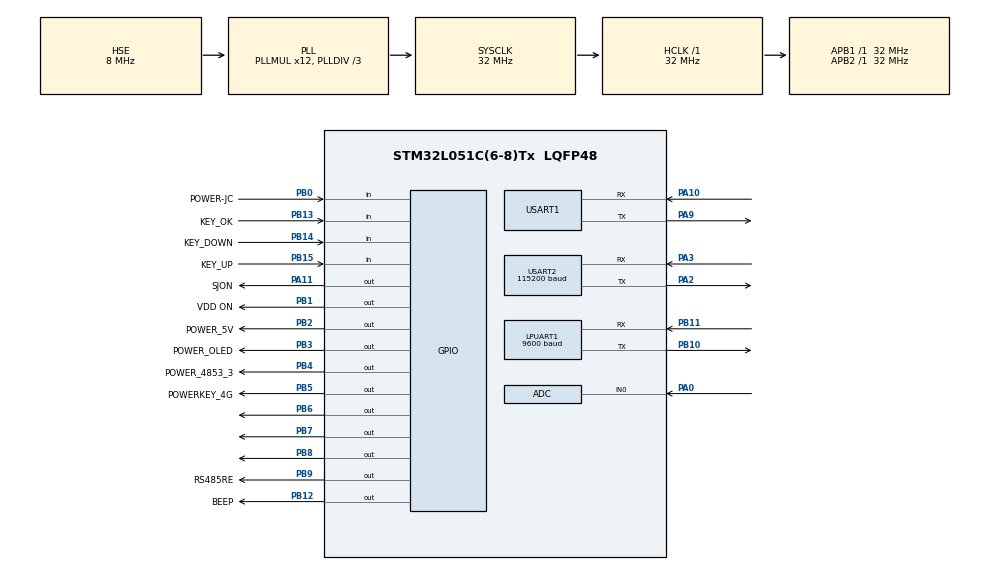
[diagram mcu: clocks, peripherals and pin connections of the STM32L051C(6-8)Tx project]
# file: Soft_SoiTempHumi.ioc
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ADC.ContinuousConvMode=ENABLE
ADC.DMAContinuousRequests=ENABLE
ADC.SamplingTime=ADC_SAMPLETIME_160CYCLES_5
Dma.ADC.0.Direction=DMA_PERIPH_TO_MEMORY
Dma.ADC.0.Instance=DMA1_Channel1
Dma.ADC.0.MemDataAlignment=DMA_MDATAALIGN_HALFWORD
Dma.ADC.0.MemInc=DMA_MINC_ENABLE
Dma.ADC.0.Mode=DMA_CIRCULAR
Dma.ADC.0.PeriphDataAlignment=DMA_PDATAALIGN_HALFWORD
Dma.ADC.0.PeriphInc=DMA_PINC_DISABLE
Dma.ADC.0.Priority=DMA_PRIORITY_LOW
Dma.Request0=ADC
FREERTOS.Tasks01=UIShowTask,-1,128,UI_ShowTask,Default,NULL,Dynamic,NULL,NULL;AdcTask,0,128,Adc_Task,Default,NULL,Dynamic,NULL,NULL;KeyTask,-1,128,Key_Task,Default,NULL,Dynamic,NULL,NULL;NerTask,-3,128,Ner_Task,Default,NULL,Dynamic,NULL,NULL
LPUART1.BaudRate=9600
LPUART1.WordLength=UART_WORDLENGTH_8B
Mcu.Family=STM32L0
Mcu.Name=STM32L051C(6-8)Tx
Mcu.Package=LQFP48
NVIC.ADC1_COMP_IRQn=true\:3\:0\:false\:false\:true\:true\:true\:true\:true
NVIC.DMA1_Channel1_IRQn=true\:3\:0\:false\:false\:true\:true\:false\:true\:true
NVIC.LPUART1_IRQn=true\:3\:0\:false\:false\:true\:true\:true\:true\:true
NVIC.TIM22_IRQn=true\:3\:0\:false\:false\:true\:false\:false\:true\:true
NVIC.TimeBase=TIM22_IRQn
NVIC.TimeBaseIP=TIM22
NVIC.USART1_IRQn=true\:3\:0\:false\:false\:true\:true\:true\:true\:true
NVIC.USART2_IRQn=true\:3\:0\:false\:false\:true\:false\:true\:true\:true
PA0.Mode=IN0
PA0.Signal=ADC_IN0
PA10.Mode=Asynchronous
PA10.Signal=USART1_RX
PA11.GPIO_Label=SJON
PA11.GPIO_PuPd=GPIO_PULLUP
PA11.PinState=GPIO_PIN_RESET
PA11.Signal=GPIO_Output
PA13.Mode=Serial_Wire
PA13.Signal=SYS_SWDIO
PA14.Mode=Serial_Wire
PA14.Signal=SYS_SWCLK
PA2.Mode=Asynchronous
PA2.Signal=USART2_TX
PA3.Mode=Asynchronous
PA3.Signal=USART2_RX
PA9.Mode=Asynchronous
PA9.Signal=USART1_TX
PB0.GPIO_Label=POWER-JC
PB0.GPIO_PuPd=GPIO_PULLUP
PB0.Signal=GPIO_Input
PB1.GPIO_Label=VDD ON
PB1.GPIO_ModeDefaultOutputPP=GPIO_MODE_OUTPUT_PP
PB1.GPIO_PuPd=GPIO_PULLUP
PB1.PinState=GPIO_PIN_SET
PB1.Signal=GPIO_Output
PB10.Mode=Asynchronous
PB10.Signal=LPUART1_TX
PB11.Mode=Asynchronous
PB11.Signal=LPUART1_RX
PB12.GPIO_Label=BEEP
PB12.GPIO_PuPd=GPIO_PULLUP
PB12.Signal=GPIO_Output
PB13.GPIO_Label=KEY_OK
PB13.GPIO_PuPd=GPIO_PULLUP
PB13.Signal=GPIO_Input
PB14.GPIO_Label=KEY_DOWN
PB14.GPIO_PuPd=GPIO_PULLUP
PB14.Signal=GPIO_Input
PB15.GPIO_Label=KEY_UP
PB15.GPIO_PuPd=GPIO_PULLUP
PB15.Signal=GPIO_Input
PB2.GPIO_Label=POWER_5V
PB2.GPIO_ModeDefaultOutputPP=GPIO_MODE_OUTPUT_PP
PB2.GPIO_PuPd=GPIO_PULLUP
PB2.PinState=GPIO_PIN_RESET
PB2.Signal=GPIO_Output
PB3.GPIO_Label=POWER_OLED
PB3.GPIO_ModeDefaultOutputPP=GPIO_MODE_OUTPUT_PP
PB3.GPIO_PuPd=GPIO_PULLUP
PB3.PinState=GPIO_PIN_SET
PB3.Signal=GPIO_Output
PB4.GPIO_Label=POWER_4853_3
PB4.GPIO_ModeDefaultOutputPP=GPIO_MODE_OUTPUT_PP
PB4.GPIO_PuPd=GPIO_PULLUP
PB4.Signal=GPIO_Output
PB5.GPIO_Label=POWERKEY_4G
PB5.GPIO_ModeDefaultOutputPP=GPIO_MODE_OUTPUT_PP
PB5.GPIO_PuPd=GPIO_PULLUP
PB5.PinState=GPIO_PIN_RESET
PB5.Signal=GPIO_Output
PB6.GPIO_ModeDefaultOutputPP=GPIO_MODE_OUTPUT_PP
PB6.GPIO_PuPd=GPIO_PULLUP
PB6.PinState=GPIO_PIN_SET
PB6.Signal=GPIO_Output
PB7.GPIO_ModeDefaultOutputPP=GPIO_MODE_OUTPUT_PP
PB7.GPIO_PuPd=GPIO_PULLUP
PB7.PinState=GPIO_PIN_SET
PB7.Signal=GPIO_Output
PB8.GPIO_ModeDefaultOutputPP=GPIO_MODE_OUTPUT_PP
PB8.GPIO_PuPd=GPIO_PULLUP
PB8.PinState=GPIO_PIN_RESET
PB8.Signal=GPIO_Output
PB9.GPIO_Label=RS485RE
PB9.GPIO_PuPd=GPIO_PULLUP
PB9.Signal=GPIO_Output
PH0-OSC_IN.Mode=HSE-External-Oscillator
PH0-OSC_IN.Signal=RCC_OSC_IN
PH1-OSC_OUT.Mode=HSE-External-Oscillator
PH1-OSC_OUT.Signal=RCC_OSC_OUT
ProjectManager.HeapSize=0x200
ProjectManager.StackSize=0x400
ProjectManager.TargetToolchain=MDK-ARM V5.32
RCC.AHBFreq_Value=32000000
RCC.APB1Freq_Value=32000000
RCC.APB1TimFreq_Value=32000000
RCC.APB2Freq_Value=32000000
RCC.APB2TimFreq_Value=32000000
RCC.HCLKFreq_Value=32000000
RCC.HSE_VALUE=8000000
RCC.HSI16_VALUE=16000000
RCC.HSI_VALUE=16000000
RCC.LSE_VALUE=32768
RCC.MSI_VALUE=2097000
RCC.PLLDIV=RCC_PLLDIV_3
RCC.PLLMUL=RCC_PLLMUL_12
RCC.PLLSourceVirtual=RCC_PLLSOURCE_HSE
RCC.SYSCLKFreq_VALUE=32000000
RCC.SYSCLKSource=RCC_SYSCLKSOURCE_PLLCLK
RCC.VCOOutputFreq_Value=96000000
USART1.VirtualMode-Asynchronous=VM_ASYNC
USART2.BaudRate=115200
USART2.VirtualMode-Asynchronous=VM_ASYNC
VP_FREERTOS_VS_CMSIS_V1.Mode=CMSIS_V1
VP_SYS_VS_tim22.Mode=TIM22
board=custom

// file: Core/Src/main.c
/* USER CODE BEGIN Header */
/**
  ******************************************************************************
  * @file           : main.c
  * @brief          : Main program body
  ******************************************************************************
  * @attention
  *
  * Copyright (c) 2023 STMicroelectronics.
  * All rights reserved.
  *
  * This software is licensed under terms that can be found in the LICENSE file
  * in the root directory of this software component.
  * If no LICENSE file comes with this software, it is provided AS-IS.
  *
  ******************************************************************************
  */
/* USER CODE END Header */
#include "main.h"
#include "cmsis_os.h"
#include "adc.h"
#include "dma.h"
#include "usart.h"
#include "gpio.h"

void SystemClock_Config(void);
void MX_FREERTOS_Init(void);

int main(void)
{

  /* MCU Configuration--------------------------------------------------------*/

  /* Reset of all peripherals, Initializes the Flash interface and the Systick. */
  HAL_Init();

  /* Configure the system clock */
  SystemClock_Config();

  /* Initialize all configured peripherals */
  MX_GPIO_Init();
  MX_DMA_Init();
  MX_USART1_UART_Init();
  MX_ADC_Init();
  MX_LPUART1_UART_Init();
  MX_USART2_UART_Init();
  /* USER CODE BEGIN 2 */
    //__HAL_UART_ENABLE_IT(&hlpuart1,UART_IT_RXNE);
		   __HAL_UART_ENABLE_IT(&huart1,UART_IT_RXNE);
			    __HAL_UART_ENABLE_IT(&huart2,UART_IT_RXNE);
  /* USER CODE END 2 */

  /* Call init function for freertos objects (in freertos.c) */
  MX_FREERTOS_Init();

  /* Start scheduler */
  osKernelStart();

  /* We should never get here as control is now taken by the scheduler */
  /* Infinite loop */
    while (1)
    {

    }
}

void SystemClock_Config(void)
{
  RCC_OscInitTypeDef RCC_OscInitStruct = {0};
  RCC_ClkInitTypeDef RCC_ClkInitStruct = {0};
  RCC_PeriphCLKInitTypeDef PeriphClkInit = {0};

  /** Configure the main internal regulator output voltage
  */
  __HAL_PWR_VOLTAGESCALING_CONFIG(PWR_REGULATOR_VOLTAGE_SCALE1);

  /** Initializes the RCC Oscillators according to the specified parameters
  * in the RCC_OscInitTypeDef structure.
  */
  RCC_OscInitStruct.OscillatorType = RCC_OSCILLATORTYPE_HSE;
  RCC_OscInitStruct.HSEState = RCC_HSE_ON;
  RCC_OscInitStruct.PLL.PLLState = RCC_PLL_ON;
  RCC_OscInitStruct.PLL.PLLSource = RCC_PLLSOURCE_HSE;
  RCC_OscInitStruct.PLL.PLLMUL = RCC_PLLMUL_12;
  RCC_OscInitStruct.PLL.PLLDIV = RCC_PLLDIV_3;
  if (HAL_RCC_OscConfig(&RCC_OscInitStruct) != HAL_OK)
  {
    Error_Handler();
  }

  /** Initializes the CPU, AHB and APB buses clocks
  */
  RCC_ClkInitStruct.ClockType = RCC_CLOCKTYPE_HCLK|RCC_CLOCKTYPE_SYSCLK
                              |RCC_CLOCKTYPE_PCLK1|RCC_CLOCKTYPE_PCLK2;
  RCC_ClkInitStruct.SYSCLKSource = RCC_SYSCLKSOURCE_PLLCLK;
  RCC_ClkInitStruct.AHBCLKDivider = RCC_SYSCLK_DIV1;
  RCC_ClkInitStruct.APB1CLKDivider = RCC_HCLK_DIV1;
  RCC_ClkInitStruct.APB2CLKDivider = RCC_HCLK_DIV1;

  if (HAL_RCC_ClockConfig(&RCC_ClkInitStruct, FLASH_LATENCY_1) != HAL_OK)
  {
    Error_Handler();
  }
  PeriphClkInit.PeriphClockSelection = RCC_PERIPHCLK_USART1|RCC_PERIPHCLK_USART2
                              |RCC_PERIPHCLK_LPUART1;
  PeriphClkInit.Usart1ClockSelection = RCC_USART1CLKSOURCE_PCLK2;
  PeriphClkInit.Usart2ClockSelection = RCC_USART2CLKSOURCE_PCLK1;
  PeriphClkInit.Lpuart1ClockSelection = RCC_LPUART1CLKSOURCE_PCLK1;
  if (HAL_RCCEx_PeriphCLKConfig(&PeriphClkInit) != HAL_OK)
  {
    Error_Handler();
  }
}

void HAL_TIM_PeriodElapsedCallback(TIM_HandleTypeDef *htim)
{
  if (htim->Instance == TIM22) {
    HAL_IncTick();
  }
}

void Error_Handler(void)
{
    __disable_irq();
    while (1)
    {
    }
}

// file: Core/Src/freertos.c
/* USER CODE BEGIN Header */
/**
  ******************************************************************************
  * File Name          : freertos.c
  * Description        : Code for freertos applications
  ******************************************************************************
  * @attention
  *
  * Copyright (c) 2023 STMicroelectronics.
  * All rights reserved.
  *
  * This software is licensed under terms that can be found in the LICENSE file
  * in the root directory of this software component.
  * If no LICENSE file comes with this software, it is provided AS-IS.
  *
  ******************************************************************************
  */
/* USER CODE END Header */

#include "FreeRTOS.h"
#include "task.h"
#include "main.h"
#include "cmsis_os.h"

/* USER CODE BEGIN Includes */
#include "stdio.h"
#include "oled.h"
#include "adc.h"
#include "usart.h"
#include "stm32l0xx_it.h"
/* USER CODE END Includes */

/* USER CODE BEGIN PTD */
__IO uint16_t adcCovValueBuff[10];
uint8_t Kwh_Percen;
uint8_t OLED_ShowSprintBuff[50];
float AirTemp ;
float AirHumi = 100;
uint8_t Ui_ShowIndex;
uint8_t Ui_OK_OFfLAG;
uint8_t Ui_Set_ThereIndex;
float Temp_ThereSholdValue = 38.0;
float Soi_TherelHumidity = 30.0;
uint8_t Kwh_ThereShold=20;
/* USER CODE END PTD */

/* USER CODE BEGIN Variables */
SemaphoreHandle_t OLED_bUFFxMutex;
/* USER CODE END Variables */
osThreadId UIShowTaskHandle;
osThreadId AdcTaskHandle;
osThreadId KeyTaskHandle;
osThreadId NerTaskHandle;

void UI_ShowTask(void const * argument);
void Adc_Task(void const * argument);
void Key_Task(void const * argument);
void Ner_Task(void const * argument);

void MX_FREERTOS_Init(void); /* (MISRA C 2004 rule 8.1) */

/* GetIdleTaskMemory prototype (linked to static allocation support) */
void vApplicationGetIdleTaskMemory( StaticTask_t **ppxIdleTaskTCBBuffer, StackType_t **ppxIdleTaskStackBuffer, uint32_t *pulIdleTaskStackSize );

/* USER CODE BEGIN GET_IDLE_TASK_MEMORY */
static StaticTask_t xIdleTaskTCBBuffer;
static StackType_t xIdleStack[configMINIMAL_STACK_SIZE];

void vApplicationGetIdleTaskMemory( StaticTask_t **ppxIdleTaskTCBBuffer, StackType_t **ppxIdleTaskStackBuffer, uint32_t *pulIdleTaskStackSize )
{
    *ppxIdleTaskTCBBuffer = &xIdleTaskTCBBuffer;
    *ppxIdleTaskStackBuffer = &xIdleStack[0];
    *pulIdleTaskStackSize = configMINIMAL_STACK_SIZE;
    /* place for user code */
}
/* USER CODE END GET_IDLE_TASK_MEMORY */

void MX_FREERTOS_Init(void) {

  /* USER CODE BEGIN RTOS_MUTEX */
    /* add mutexes, ... */
    OLED_bUFFxMutex = xSemaphoreCreateMutex( );
  /* USER CODE END RTOS_MUTEX */

  /* Create the thread(s) */
  /* definition and creation of UIShowTask */
  osThreadDef(UIShowTask, UI_ShowTask, osPriorityBelowNormal, 0, 128);
  UIShowTaskHandle = osThreadCreate(osThread(UIShowTask), NULL);

  /* definition and creation of AdcTask */
  osThreadDef(AdcTask, Adc_Task, osPriorityNormal, 0, 128);
  AdcTaskHandle = osThreadCreate(osThread(AdcTask), NULL);

  /* definition and creation of KeyTask */
  osThreadDef(KeyTask, Key_Task, osPriorityBelowNormal, 0, 128);
  KeyTaskHandle = osThreadCreate(osThread(KeyTask), NULL);

  /* definition and creation of NerTask */
  osThreadDef(NerTask, Ner_Task, osPriorityIdle, 0, 128);
  NerTaskHandle = osThreadCreate(osThread(NerTask), NULL);

}

void UI_ShowTask(void const * argument)
{
  /* USER CODE BEGIN UI_ShowTask */
    OLED_Init();
    /* Infinite loop */
    for(;;)
    {
			OLED_Clear();
			  if(!Ui_ShowIndex)
        {
       // OLED_Clear();
        OLED_Showstring_CH(0,0,(const uint8_t*)"电量",OLED_SHOW_NOR);
        OLED_Showstring_CH(0,20,(const uint8_t*)"空气温度",OLED_SHOW_NOR);
        OLED_Showstring_CH(0,40,(const uint8_t*)"空气湿度",OLED_SHOW_NOR);
        sprintf((char*)OLED_ShowSprintBuff,":%d%%",Kwh_Percen);
        OLED_ShowString(32,0,(const char *)OLED_ShowSprintBuff,16,OLED_SHOW_NOR);
        sprintf((char*)OLED_ShowSprintBuff,":%.1f",AirTemp);
        OLED_ShowString(64,20,(const char *)OLED_ShowSprintBuff,16,OLED_SHOW_NOR);
        sprintf((char*)OLED_ShowSprintBuff,":%.1f%%  ",AirHumi);
        OLED_ShowString(64,40,(const char *)OLED_ShowSprintBuff,16,OLED_SHOW_NOR);
        //OLED_Refresh();
				}
			 else
        {

            if(Ui_OK_OFfLAG)
                OLED_ShowString(120,Ui_Set_ThereIndex*20,"<",16,OLED_SHOW_NOR);
            else
                OLED_ShowString(120,Ui_Set_ThereIndex*20,">",16,OLED_SHOW_NOR);
            OLED_Showstring_CH(0,0,(const uint8_t*)"电量阈值",OLED_SHOW_NOR);
            OLED_Showstring_CH(0,20,(const uint8_t*)"温度阈值",OLED_SHOW_NOR);
            OLED_Showstring_CH(0,40,(const uint8_t*)"湿度阈值",OLED_SHOW_NOR);
            sprintf((char*)OLED_ShowSprintBuff,":%d%%",Kwh_ThereShold);
            OLED_ShowString(64,0,(const char *)OLED_ShowSprintBuff,16,OLED_SHOW_NOR);
            sprintf((char*)OLED_ShowSprintBuff,":%.1f",Temp_ThereSholdValue);
            OLED_ShowString(64,20,(const char *)OLED_ShowSprintBuff,16,OLED_SHOW_NOR);
            sprintf((char*)OLED_ShowSprintBuff,":%.1f%%",Soi_TherelHumidity);
            OLED_ShowString(64,40,(const char *)OLED_ShowSprintBuff,16,OLED_SHOW_NOR);

        }
				OLED_Refresh();
//				 if((AirTemp>Temp_ThereSholdValue)||(AirHumi<Soi_TherelHumidity))
//        {
//            HAL_GPIO_WritePin(BEEP_GPIO_Port, BEEP_Pin, GPIO_PIN_SET);
//        }
//        else
//        {
//            HAL_GPIO_WritePin(BEEP_GPIO_Port, BEEP_Pin, GPIO_PIN_RESET);
//        }
//        if(Kwh_Percen<Kwh_ThereShold)
//        {
//					HAL_GPIO_WritePin(GPIOB, VDD_ON_Pin, GPIO_PIN_RESET);
//					osDelay(1000);
//        }
       // osDelay(1);
    }
  /* USER CODE END UI_ShowTask */
}

void Adc_Task(void const * argument)
{
  /* USER CODE BEGIN Adc_Task */
    uint32_t sum = 0;
    uint32_t Adc_Value = 0;
    HAL_ADC_Start_DMA(&hadc,(uint32_t *)adcCovValueBuff,10);//
    osDelay(500);
    /* Infinite loop */
    for(;;)
    {
        sum = 0;
        for(uint8_t count = 0; count < 10; count++)
        {
            sum += adcCovValueBuff[count];
        }
        Adc_Value = sum/10;
        Kwh_Percen = (3.3 / 4096 * (Adc_Value))*((100+200)/200.0f) / 4.15 * 100;
        if(Kwh_Percen>100)Kwh_Percen=100;
        if(Rs485Rxflag!=3)
        {
//            printf("电压：%fV\n",(3.3 / 4096 * (Adc_Value))*((100+200)/200.0f));
//            printf("Kwh_Percen = %d \n",Kwh_Percen);
//            printf("Adc_Value = %d\n",	Adc_Value);

            Rs485Rxflag = 1;
            Rs485Len = 0;
            HAL_GPIO_WritePin(GPIOB, RS485RE_Pin, GPIO_PIN_SET);//osDelay(100);
          //  HAL_UART_Transmit(&hlpuart1,Rs485Send,8,10);
            Rs485Rxflag = 0;
            HAL_GPIO_WritePin(GPIOB, RS485RE_Pin, GPIO_PIN_RESET);
        }

        osDelay(500);
    }
  /* USER CODE END Adc_Task */
}

void Key_Task(void const * argument)
{
  /* USER CODE BEGIN Key_Task */
	 osDelay(1000);
    /* Infinite loop */
    for(;;)
    {
        uint16_t Timerout;
        if(HAL_GPIO_ReadPin(KEY_OK_GPIO_Port, KEY_OK_Pin) ==RESET)
        {
            osDelay(10);
            if(HAL_GPIO_ReadPin(KEY_OK_GPIO_Port, KEY_OK_Pin) ==RESET)
            {
                if(Ui_ShowIndex )
                {
                    if(Ui_OK_OFfLAG == 0)
                        Ui_OK_OFfLAG = 1;
                    else Ui_OK_OFfLAG = 0;
                }
            }
            while(HAL_GPIO_ReadPin(KEY_OK_GPIO_Port, KEY_OK_Pin) ==RESET);
        }
        if(HAL_GPIO_ReadPin(KEY_DOWN_GPIO_Port, KEY_DOWN_Pin) ==RESET)
        {
            osDelay(10);
            if(HAL_GPIO_ReadPin(KEY_DOWN_GPIO_Port, KEY_DOWN_Pin) ==RESET)
            {

                if(Ui_OK_OFfLAG)
                {
                    switch(Ui_Set_ThereIndex)
                    {
                    case 0:
                        Kwh_ThereShold++;
                        if(Kwh_ThereShold>100)Kwh_ThereShold = 100;
                        break;

                    case 1:
                      Temp_ThereSholdValue++;
                        if(Temp_ThereSholdValue>100)Temp_ThereSholdValue=100;
                        break;
                    case 2:
                       Soi_TherelHumidity++;
                        if(Soi_TherelHumidity>100)Soi_TherelHumidity=100;
                        break;
                    }
                }
                else
                {
                    Ui_Set_ThereIndex++;
                    if(Ui_Set_ThereIndex>2)Ui_Set_ThereIndex=0;
                }
            }
            while(HAL_GPIO_ReadPin(KEY_DOWN_GPIO_Port, KEY_DOWN_Pin) ==RESET);
        }
        if(HAL_GPIO_ReadPin(KEY_UP_GPIO_Port, KEY_UP_Pin) ==RESET)
        {
            osDelay(10);
            if(HAL_GPIO_ReadPin(KEY_UP_GPIO_Port, KEY_UP_Pin) ==RESET)
            {
                if(Ui_OK_OFfLAG)
                {
                    switch(Ui_Set_ThereIndex)
                    {
                    case 0:
                        Kwh_ThereShold--;
                        if(Kwh_ThereShold>100)Kwh_ThereShold = 0;
                        break;

                    case 1:
                        Temp_ThereSholdValue--;
                        if(Temp_ThereSholdValue>100)Temp_ThereSholdValue=0;
                        break;
                    case 2:
                        Soi_TherelHumidity--;
                        if(Soi_TherelHumidity>100)Soi_TherelHumidity=0;
                        break;
                    }
                }
                else
                {
                    Ui_Set_ThereIndex--;
                    if(Ui_Set_ThereIndex>2)Ui_Set_ThereIndex=2;
                }

            }
            while(HAL_GPIO_ReadPin(KEY_UP_GPIO_Port, KEY_UP_Pin) ==RESET);
        }
//        if(HAL_GPIO_ReadPin(POWER_JC_GPIO_Port, POWER_JC_Pin) ==RESET)
//        {
//            //osDelay(10);
//					 Timerout = 0;
//            while(HAL_GPIO_ReadPin(POWER_JC_GPIO_Port, POWER_JC_Pin) ==RESET)
//            {
//                if(Timerout++ > 50)
//                {
//                    HAL_GPIO_WritePin(GPIOB, VDD_ON_Pin, GPIO_PIN_RESET);
//                    osDelay(100);
//                }
//                osDelay(10);
//            }
//            if(Timerout>1)
//            {
//                if(!Ui_ShowIndex)Ui_ShowIndex=1;
//                else
//                {
//                    Ui_ShowIndex = 0;
//                    Ui_Set_ThereIndex = 0;
//                    Ui_OK_OFfLAG = 0;
//                }

//            }
//
//        }
    }
  /* USER CODE END Key_Task */
}

void Ner_Task(void const * argument)
{
  for(;;)
  {
    osDelay(1);
  }
}
